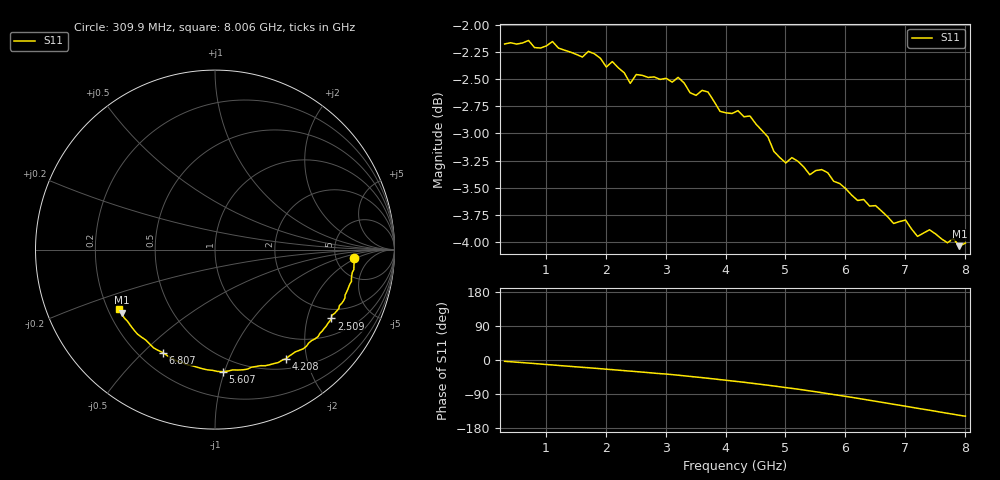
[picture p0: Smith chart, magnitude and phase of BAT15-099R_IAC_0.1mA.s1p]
! Infineon Technologies  Discrete & RF Semiconductors
! BAT15-099R
! IAC = 0.1 mA
! One-Port S-Parameters
# Hz  S  MA  R  50
!f  S11
!Hz  Mag  Ang
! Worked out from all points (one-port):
!   78 points, 309.9 MHz to 8.006 GHz, reference 50 ohm
!   lowest |S11| = -4.0 dB at 7.906 GHz (marker M1), VSWR 4.38, Z = 12.4 - j14.4 ohm
!   |S11| at or under -10 dB: nowhere
!   S11 on the Smith chart (normalised r, x): 309.9 MHz: 7.58, -1.84; 2.509 GHz: 1.60, -2.84; 4.208 GHz: 0.64, -1.65; 5.607 GHz: 0.39, -0.99; 6.807 GHz: 0.29, -0.58; 8.006 GHz: 0.24, -0.27
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3.0985e8  0.7786 -3.5
7.0965e8  0.7816 -8.2
9.0955e8  0.7753 -10.7
1.10945e9  0.7807 -13.1
1.30935e9  0.7735 -15.6
1.6092e9  0.7679 -19.3
1.70915e9  0.7725 -20.4
2.009e9  0.7598 -24.3
2.10895e9  0.7642 -25.4
2.30885e9  0.7551 -28.1
2.4088e9  0.7467 -29.4
2.50875e9  0.7538 -30.6
3.2084e9  0.7515 -40.1
3.70815e9  0.7398 -48.3
3.90805e9  0.7248 -51.8
4.2079e9  0.7253 -57.0
4.4078e9  0.7212 -60.8
4.90755e9  0.69 -70.7
5.2074e9  0.6874 -76.9
5.6072e9  0.6812 -86.3
6.10695e9  0.663 -98.5
6.50675e9  0.6556 -108.9
6.8066e9  0.6433 -116.9
7.0065e9  0.6456 -122.0
7.10645e9  0.6395 -124.7
7.4063e9  0.639 -132.5
7.90605e9  0.628 -146.0
8.006e9  0.63 -148.3
